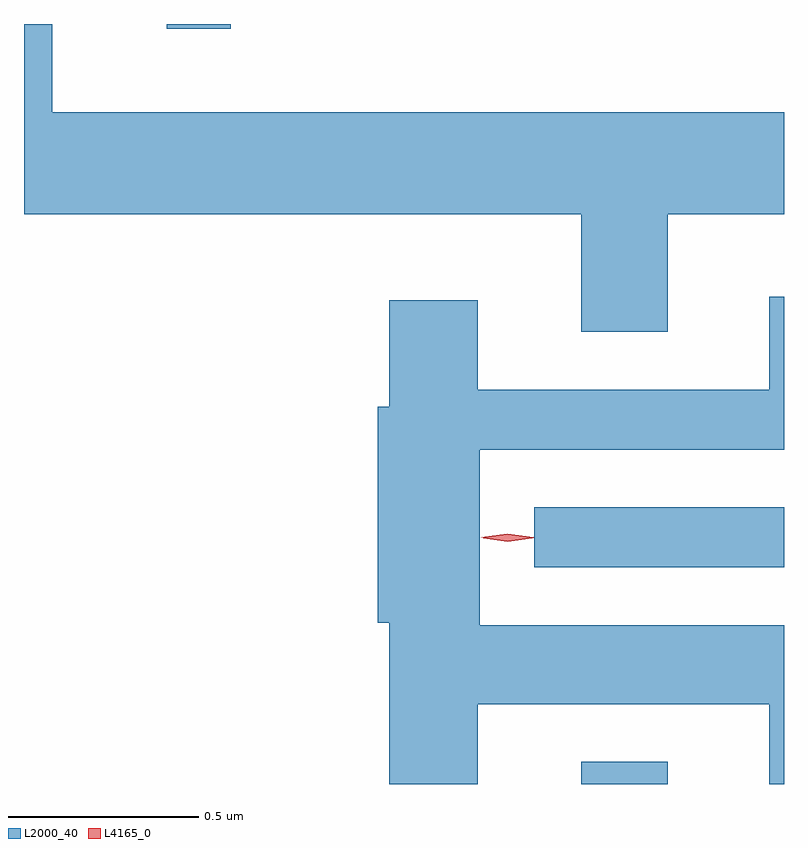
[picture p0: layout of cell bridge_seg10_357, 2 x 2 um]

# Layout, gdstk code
import gdstk
lib = gdstk.Library(unit=1e-6, precision=1e-09)
def R(c, l, rs):  # rectangles x0, y0, x1, y1
    for r in rs: c.add(gdstk.rectangle(r[:2], r[2:], *l))
def P(c, l, *ps):  # polygons
    for p in ps: c.add(gdstk.Polygon(p, *l))
L2000_40 = (2000, 40)
L4165_0 = (4165, 0)

bridge_seg10_357 = lib.new_cell('bridge_seg10_357')
R(bridge_seg10_357, L2000_40, [(1330.241,2167.916,1330.469,2167.974), (1330.118,2168.486,1330.775,2168.644), (1329.151,2169.903,1329.319,2169.916)])
P(bridge_seg10_357, L2000_40, [(1330.469,2169.416),(1330.775,2169.416),(1330.775,2169.684),(1328.849,2169.684),(1328.849,2169.916),(1328.775,2169.916),(1328.775,2169.416),(1330.241,2169.416),(1330.241,2169.106),(1330.469,2169.106)],
  [(1329.969,2168.126),(1330.736,2168.126),(1330.736,2167.916),(1330.775,2167.916),(1330.775,2168.334),(1329.974,2168.334),(1329.974,2168.796),(1330.775,2168.796),(1330.775,2169.198),(1330.736,2169.198),(1330.736,2168.954),(1329.969,2168.954),(1329.969,2169.189),(1329.736,2169.189),(1329.736,2168.909),(1329.706,2168.909),(1329.706,2168.341),(1329.736,2168.341),(1329.736,2167.916),(1329.969,2167.916)])
P(bridge_seg10_357, L4165_0, [(1330.047,2168.555),(1329.978,2168.565),(1329.978,2168.566),(1329.978,2168.566),(1330.047,2168.575),(1330.116,2168.566),(1330.116,2168.565),(1330.116,2168.564)],
  [(1330.048,2168.553),(1329.983,2168.563),(1329.983,2168.564),(1329.983,2168.564),(1330.048,2168.573),(1330.112,2168.564),(1330.113,2168.564),(1330.112,2168.563)])

lib.write_gds('bridge_seg10_357.gds')
